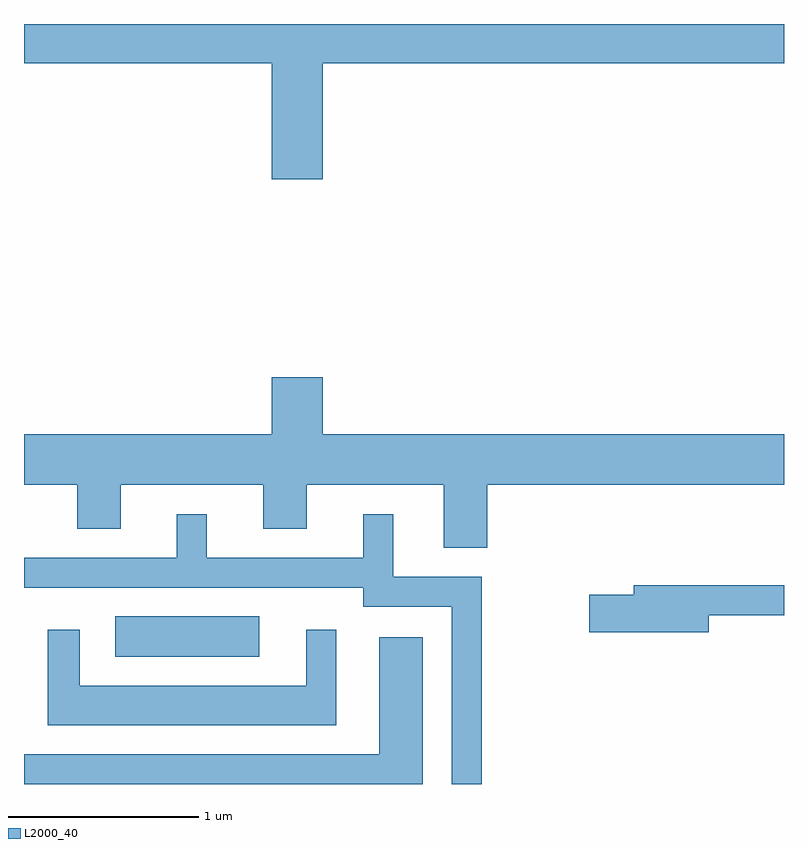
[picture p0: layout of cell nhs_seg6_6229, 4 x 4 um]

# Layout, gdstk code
import gdstk
lib = gdstk.Library(unit=1e-6, precision=1e-09)
def R(c, l, rs):  # rectangles x0, y0, x1, y1
    for r in rs: c.add(gdstk.rectangle(r[:2], r[2:], *l))
def P(c, l, *ps):  # polygons
    for p in ps: c.add(gdstk.Polygon(p, *l))
L2000_40 = (2000, 40)

nhs_seg6_6229 = lib.new_cell('nhs_seg6_6229')
R(nhs_seg6_6229, L2000_40, [(374.091,1626.831,374.849,1627.044)])
P(nhs_seg6_6229, L2000_40, [(375.184,1629.956),(377.611,1629.956),(377.611,1630.162),(373.611,1630.162),(373.611,1629.956),(374.916,1629.956),(374.916,1629.346),(375.184,1629.346)],
  [(376.049,1627.736),(377.611,1627.736),(377.611,1628.004),(375.184,1628.004),(375.184,1628.304),(374.916,1628.304),(374.916,1628.004),(373.611,1628.004),(373.611,1627.736),(373.891,1627.736),(373.891,1627.506),(374.119,1627.506),(374.119,1627.736),(374.871,1627.736),(374.871,1627.506),(375.099,1627.506),(375.099,1627.736),(375.821,1627.736),(375.821,1627.406),(376.049,1627.406)],
  [(376.019,1627.254),(375.554,1627.254),(375.554,1627.583),(375.396,1627.583),(375.396,1627.354),(374.574,1627.354),(374.574,1627.583),(374.416,1627.583),(374.416,1627.354),(373.611,1627.354),(373.611,1627.196),(375.396,1627.196),(375.396,1627.096),(375.861,1627.096),(375.861,1626.162),(376.019,1626.162)],
  [(377.214,1627.051),(377.611,1627.051),(377.611,1627.209),(376.821,1627.209),(376.821,1627.159),(376.586,1627.159),(376.586,1626.961),(377.214,1626.961)],
  [(375.254,1626.973),(375.096,1626.973),(375.096,1626.679),(373.904,1626.679),(373.904,1626.973),(373.736,1626.973),(373.736,1626.471),(375.254,1626.471)],
  [(375.709,1626.934),(375.481,1626.934),(375.481,1626.319),(373.611,1626.319),(373.611,1626.162),(375.709,1626.162)])

lib.write_gds('nhs_seg6_6229.gds')
